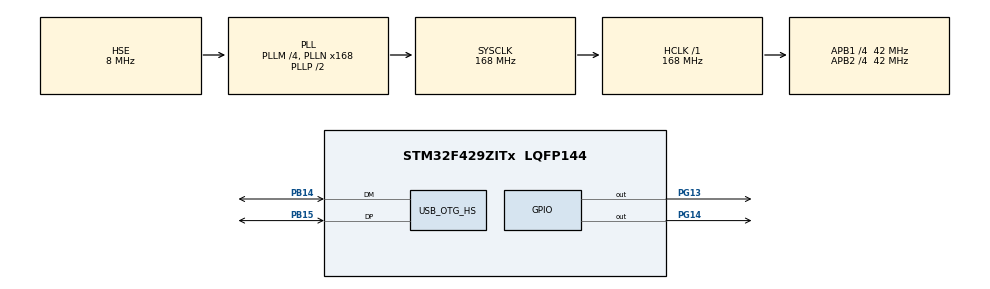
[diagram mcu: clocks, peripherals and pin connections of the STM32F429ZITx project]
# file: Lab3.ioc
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Mcu.Family=STM32F4
Mcu.Name=STM32F429ZITx
Mcu.Package=LQFP144
NVIC.OTG_HS_IRQn=true\:0\:0\:false\:false\:true\:true\:true\:true
NVIC.PriorityGroup=NVIC_PRIORITYGROUP_4
PB14.Mode=Device_Only_FS
PB14.Signal=USB_OTG_HS_DM
PB15.Mode=Device_Only_FS
PB15.Signal=USB_OTG_HS_DP
PG13.Signal=GPIO_Output
PG14.Signal=GPIO_Output
PH0/OSC_IN.Mode=HSE-External-Oscillator
PH0/OSC_IN.Signal=RCC_OSC_IN
PH1/OSC_OUT.Mode=HSE-External-Oscillator
PH1/OSC_OUT.Signal=RCC_OSC_OUT
ProjectManager.HeapSize=0x2000
ProjectManager.StackSize=0x400
ProjectManager.TargetToolchain=STM32CubeIDE
RCC.48MHZClocksFreq_Value=48000000
RCC.AHBFreq_Value=168000000
RCC.APB1CLKDivider=RCC_HCLK_DIV4
RCC.APB1Freq_Value=42000000
RCC.APB1TimFreq_Value=84000000
RCC.APB2CLKDivider=RCC_HCLK_DIV4
RCC.APB2Freq_Value=42000000
RCC.APB2TimFreq_Value=84000000
RCC.CortexFreq_Value=168000000
RCC.HCLKFreq_Value=168000000
RCC.HSE_VALUE=8000000
RCC.HSI_VALUE=16000000
RCC.LSE_VALUE=32768
RCC.PLLM=4
RCC.PLLN=168
RCC.PLLQ=7
RCC.SYSCLKFreq_VALUE=168000000
RCC.SYSCLKSource=RCC_SYSCLKSOURCE_PLLCLK
RCC.VCOOutputFreq_Value=336000000
USB_DEVICE.CLASS_NAME_HS=CDC
USB_DEVICE.VirtualMode-CDC_HS=Cdc
USB_DEVICE.VirtualModeHS=Cdc_HS
USB_OTG_HS.VirtualMode-Device_Only_FS=Device_Only_FS
VP_USB_DEVICE_VS_USB_DEVICE_CDC_HS.Mode=CDC_HS
board=custom

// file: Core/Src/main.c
/* USER CODE BEGIN Header */
/**
  ******************************************************************************
  * @file           : main.c
  * @brief          : Main program body
  ******************************************************************************
  * @attention
  *
  * Copyright (c) 2023 STMicroelectronics.
  * All rights reserved.
  *
  * This software is licensed under terms that can be found in the LICENSE file
  * in the root directory of this software component.
  * If no LICENSE file comes with this software, it is provided AS-IS.
  *
  ******************************************************************************
  */
/* USER CODE END Header */
#include "main.h"
#include "usb_device.h"

/* USER CODE BEGIN Includes */
#include "string.h"
#include "usbd_cdc_if.h"
#include "stm32f429i_discovery_lcd.h"
#include "stm32f429i_discovery_sdram.h"

/* USER CODE END Includes */

/* USER CODE BEGIN PV */
uint8_t receive_d[64];
uint8_t hello[64] = "Hello STM";
uint8_t on_L3[64] = "Turn on LED 3";
uint8_t on_L4[64] = "Turn on LED 4";
uint8_t off_L3[64] = "Turn off LED 3";
uint8_t off_L4[64] = "Turn off LED 4";
uint8_t G9[64] = "Good night";
/* USER CODE END PV */

void SystemClock_Config(void);
static void MX_GPIO_Init(void);

int main(void)
{
  /* MCU Configuration--------------------------------------------------------*/
  /* Reset of all peripherals, Initializes the Flash interface and the Systick. */
  HAL_Init();
  /* Configure the system clock */
  SystemClock_Config();
  /* Initialize all configured peripherals */
  MX_GPIO_Init();
  MX_USB_DEVICE_Init();
  /* USER CODE BEGIN 2 */
  BSP_SDRAM_Init();
  BSP_LCD_Init();//init LCD
  BSP_LCD_LayerDefaultInit(1, SDRAM_DEVICE_ADDR);
  BSP_LCD_SelectLayer(1);//select on which layer we
  BSP_LCD_DisplayOn();//turn on LCD
  BSP_LCD_Clear(LCD_COLOR_BLACK);//clear the LCD on blACK
  BSP_LCD_SetBackColor(LCD_COLOR_BLACK);//set text background color
  BSP_LCD_SetTextColor(LCD_COLOR_WHITE);//set text color
  BSP_LCD_DisplayStringAtLine(1,"Good evening,");
  BSP_LCD_DisplayStringAtLine(2,"it's too dark");
  BSP_LCD_DisplayStringAtLine(3,"here");
  /* USER CODE END 2 */
  /* Infinite loop */
  /* USER CODE BEGIN WHILE */
  while (1)
  {
	 if (strcmp(receive_d, hello)==0) {
		 BSP_LCD_DisplayStringAtLine(4,"Do you want to");
		 BSP_LCD_DisplayStringAtLine(5,"turn on light");
	 }
	 if (strcmp(receive_d, on_L3)==0) HAL_GPIO_WritePin(GPIOG, GPIO_PIN_13, GPIO_PIN_SET);
	 if (strcmp(receive_d, on_L4)==0) HAL_GPIO_WritePin(GPIOG, GPIO_PIN_14, GPIO_PIN_SET);
	 if (strcmp(receive_d, off_L3)==0) HAL_GPIO_WritePin(GPIOG, GPIO_PIN_13, GPIO_PIN_RESET);
	 if (strcmp(receive_d, off_L4)==0) HAL_GPIO_WritePin(GPIOG, GPIO_PIN_14, GPIO_PIN_RESET);
	 if (strcmp(receive_d, G9)==0){
		 HAL_GPIO_WritePin(GPIOG, GPIO_PIN_13, GPIO_PIN_RESET);
	 	 HAL_GPIO_WritePin(GPIOG, GPIO_PIN_14, GPIO_PIN_RESET);
	 }
    /* USER CODE END WHILE */

  }
}

void SystemClock_Config(void)
{
  RCC_OscInitTypeDef RCC_OscInitStruct = {0};
  RCC_ClkInitTypeDef RCC_ClkInitStruct = {0};

  /** Configure the main internal regulator output voltage
  */
  __HAL_RCC_PWR_CLK_ENABLE();
  __HAL_PWR_VOLTAGESCALING_CONFIG(PWR_REGULATOR_VOLTAGE_SCALE1);

  /** Initializes the RCC Oscillators according to the specified parameters
  * in the RCC_OscInitTypeDef structure.
  */
  RCC_OscInitStruct.OscillatorType = RCC_OSCILLATORTYPE_HSE;
  RCC_OscInitStruct.HSEState = RCC_HSE_ON;
  RCC_OscInitStruct.PLL.PLLState = RCC_PLL_ON;
  RCC_OscInitStruct.PLL.PLLSource = RCC_PLLSOURCE_HSE;
  RCC_OscInitStruct.PLL.PLLM = 4;
  RCC_OscInitStruct.PLL.PLLN = 168;
  RCC_OscInitStruct.PLL.PLLP = RCC_PLLP_DIV2;
  RCC_OscInitStruct.PLL.PLLQ = 7;
  if (HAL_RCC_OscConfig(&RCC_OscInitStruct) != HAL_OK)
  {
    Error_Handler();
  }

  /** Initializes the CPU, AHB and APB buses clocks
  */
  RCC_ClkInitStruct.ClockType = RCC_CLOCKTYPE_HCLK|RCC_CLOCKTYPE_SYSCLK
                              |RCC_CLOCKTYPE_PCLK1|RCC_CLOCKTYPE_PCLK2;
  RCC_ClkInitStruct.SYSCLKSource = RCC_SYSCLKSOURCE_PLLCLK;
  RCC_ClkInitStruct.AHBCLKDivider = RCC_SYSCLK_DIV1;
  RCC_ClkInitStruct.APB1CLKDivider = RCC_HCLK_DIV4;
  RCC_ClkInitStruct.APB2CLKDivider = RCC_HCLK_DIV4;

  if (HAL_RCC_ClockConfig(&RCC_ClkInitStruct, FLASH_LATENCY_5) != HAL_OK)
  {
    Error_Handler();
  }
}

static void MX_GPIO_Init(void)
{
  GPIO_InitTypeDef GPIO_InitStruct = {0};

  /* GPIO Ports Clock Enable */
  __HAL_RCC_GPIOH_CLK_ENABLE();
  __HAL_RCC_GPIOB_CLK_ENABLE();
  __HAL_RCC_GPIOG_CLK_ENABLE();

  /*Configure GPIO pin Output Level */
  HAL_GPIO_WritePin(GPIOG, GPIO_PIN_13|GPIO_PIN_14, GPIO_PIN_RESET);

  /*Configure GPIO pins : PG13 PG14 */
  GPIO_InitStruct.Pin = GPIO_PIN_13|GPIO_PIN_14;
  GPIO_InitStruct.Mode = GPIO_MODE_OUTPUT_PP;
  GPIO_InitStruct.Pull = GPIO_NOPULL;
  GPIO_InitStruct.Speed = GPIO_SPEED_FREQ_LOW;
  HAL_GPIO_Init(GPIOG, &GPIO_InitStruct);

}

void Error_Handler(void)
{
  __disable_irq();
  while (1)
  {
  }
}
